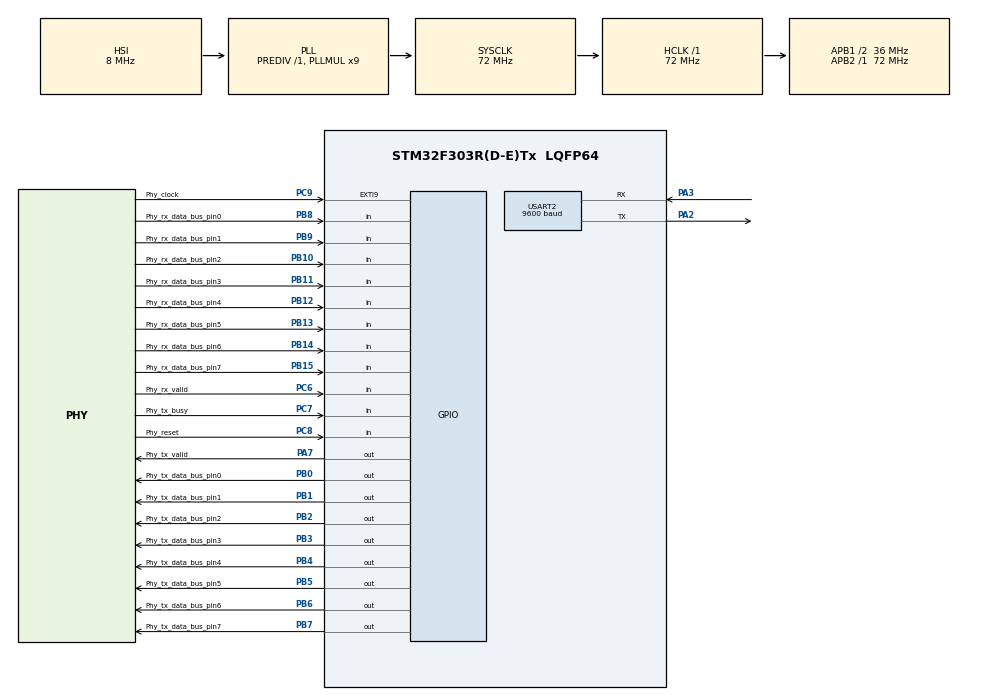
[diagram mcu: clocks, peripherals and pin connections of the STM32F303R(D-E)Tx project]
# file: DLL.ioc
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Mcu.Family=STM32F3
Mcu.Name=STM32F303R(D-E)Tx
Mcu.Package=LQFP64
Mcu.UserConstants=PSC_2KHZ,36000;ARR_2HZ,1000
NVIC.EXTI9_5_IRQn=true\:0\:0\:false\:true\:false\:1\:true
NVIC.PriorityGroup=NVIC_PRIORITYGROUP_4
NVIC.TIM2_IRQn=true\:0\:0\:false\:false\:true\:true
NVIC.TIM3_IRQn=true\:0\:0\:false\:false\:true\:true
NVIC.USART2_IRQn=true\:0\:0\:false\:true\:false\:2\:true
PA13.Mode=Serial_Wire
PA13.Signal=SYS_JTMS-SWDIO
PA14.Mode=Serial_Wire
PA14.Signal=SYS_JTCK-SWCLK
PA2.Mode=Asynchronous
PA2.Signal=USART2_TX
PA3.Mode=Asynchronous
PA3.Signal=USART2_RX
PA7.GPIO_Label=Phy_tx_valid
PA7.GPIO_ModeDefaultOutputPP=GPIO_MODE_OUTPUT_PP
PA7.GPIO_PuPd=GPIO_PULLDOWN
PA7.GPIO_Speed=GPIO_SPEED_FREQ_HIGH
PA7.Signal=GPIO_Output
PB0.GPIO_Label=Phy_tx_data_bus_pin0
PB0.GPIO_ModeDefaultOutputPP=GPIO_MODE_OUTPUT_PP
PB0.GPIO_PuPd=GPIO_PULLDOWN
PB0.GPIO_Speed=GPIO_SPEED_FREQ_HIGH
PB0.Signal=GPIO_Output
PB1.GPIO_Label=Phy_tx_data_bus_pin1
PB1.GPIO_PuPd=GPIO_PULLDOWN
PB1.GPIO_Speed=GPIO_SPEED_FREQ_HIGH
PB1.Signal=GPIO_Output
PB10.GPIO_Label=Phy_rx_data_bus_pin2
PB10.GPIO_PuPd=GPIO_PULLDOWN
PB10.Signal=GPIO_Input
PB11.GPIO_Label=Phy_rx_data_bus_pin3
PB11.GPIO_PuPd=GPIO_PULLDOWN
PB11.Signal=GPIO_Input
PB12.GPIO_Label=Phy_rx_data_bus_pin4
PB12.GPIO_PuPd=GPIO_PULLDOWN
PB12.Signal=GPIO_Input
PB13.GPIO_Label=Phy_rx_data_bus_pin5
PB13.GPIO_PuPd=GPIO_PULLDOWN
PB13.Signal=GPIO_Input
PB14.GPIO_Label=Phy_rx_data_bus_pin6
PB14.GPIO_PuPd=GPIO_PULLDOWN
PB14.Signal=GPIO_Input
PB15.GPIO_Label=Phy_rx_data_bus_pin7
PB15.GPIO_PuPd=GPIO_PULLDOWN
PB15.Signal=GPIO_Input
PB2.GPIO_Label=Phy_tx_data_bus_pin2
PB2.GPIO_PuPd=GPIO_PULLDOWN
PB2.GPIO_Speed=GPIO_SPEED_FREQ_HIGH
PB2.Signal=GPIO_Output
PB3.GPIO_Label=Phy_tx_data_bus_pin3
PB3.GPIO_PuPd=GPIO_PULLDOWN
PB3.GPIO_Speed=GPIO_SPEED_FREQ_HIGH
PB3.Signal=GPIO_Output
PB4.GPIO_Label=Phy_tx_data_bus_pin4
PB4.GPIO_PuPd=GPIO_PULLDOWN
PB4.GPIO_Speed=GPIO_SPEED_FREQ_HIGH
PB4.Signal=GPIO_Output
PB5.GPIO_Label=Phy_tx_data_bus_pin5
PB5.GPIO_PuPd=GPIO_PULLDOWN
PB5.GPIO_Speed=GPIO_SPEED_FREQ_HIGH
PB5.Signal=GPIO_Output
PB6.GPIO_Label=Phy_tx_data_bus_pin6
PB6.GPIO_PuPd=GPIO_PULLDOWN
PB6.GPIO_Speed=GPIO_SPEED_FREQ_HIGH
PB6.Signal=GPIO_Output
PB7.GPIO_Label=Phy_tx_data_bus_pin7
PB7.GPIO_PuPd=GPIO_PULLDOWN
PB7.GPIO_Speed=GPIO_SPEED_FREQ_HIGH
PB7.Signal=GPIO_Output
PB8.GPIO_Label=Phy_rx_data_bus_pin0
PB8.GPIO_PuPd=GPIO_PULLDOWN
PB8.Signal=GPIO_Input
PB9.GPIO_Label=Phy_rx_data_bus_pin1
PB9.GPIO_PuPd=GPIO_PULLDOWN
PB9.Signal=GPIO_Input
PC6.GPIO_Label=Phy_rx_valid
PC6.GPIO_PuPd=GPIO_PULLDOWN
PC6.Signal=GPIO_Input
PC7.GPIO_Label=Phy_tx_busy
PC7.GPIO_PuPd=GPIO_PULLDOWN
PC7.Signal=GPIO_Input
PC8.GPIO_Label=Phy_reset
PC8.GPIO_PuPd=GPIO_PULLDOWN
PC8.Signal=GPIO_Input
PC9.GPIO_Label=Phy_clock
PC9.GPIO_ModeDefaultEXTI=GPIO_MODE_IT_RISING_FALLING
PC9.GPIO_PuPd=GPIO_PULLDOWN
PC9.Signal=GPXTI9
ProjectManager.HeapSize=0xe000
ProjectManager.StackSize=0x1400
ProjectManager.TargetToolchain=MDK-ARM V5
RCC.AHBFreq_Value=72000000
RCC.APB1CLKDivider=RCC_HCLK_DIV2
RCC.APB1Freq_Value=36000000
RCC.APB1TimFreq_Value=72000000
RCC.APB2Freq_Value=72000000
RCC.APB2TimFreq_Value=72000000
RCC.CortexFreq_Value=72000000
RCC.HCLKFreq_Value=72000000
RCC.HSE_VALUE=8000000
RCC.HSI_VALUE=8000000
RCC.LSE_VALUE=32768
RCC.PLLMUL=RCC_PLL_MUL9
RCC.SYSCLKFreq_VALUE=72000000
RCC.SYSCLKSourceVirtual=RCC_SYSCLKSOURCE_PLLCLK
RCC.USBFreq_Value=72000000
TIM2.Period=999
TIM2.Prescaler=359
TIM3.Period=999
TIM3.Prescaler=719
USART2.BaudRate=9600
USART2.VirtualMode-Asynchronous=VM_ASYNC
USART2.WordLength=WORDLENGTH_8B
VP_CRC_VS_CRC.Mode=CRC_Activate
VP_TIM2_VS_ClockSourceINT.Mode=Internal
VP_TIM3_VS_ClockSourceINT.Mode=Internal
board=DLL

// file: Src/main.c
/**
  ******************************************************************************
  * @file           : main.c
  * @brief          : Main program body
  ******************************************************************************
  ** This notice applies to any and all portions of this file
  * that are not between comment pairs USER CODE BEGIN and
  * USER CODE END. Other portions of this file, whether
  * inserted by the user or by software development tools
  * are owned by their respective copyright owners.
  *
  * COPYRIGHT(c) 2020 STMicroelectronics
  *
  * Redistribution and use in source and binary forms, with or without modification,
  * are permitted provided that the following conditions are met:
  *   1. Redistributions of source code must retain the above copyright notice,
  *      this list of conditions and the following disclaimer.
  *   2. Redistributions in binary form must reproduce the above copyright notice,
  *      this list of conditions and the following disclaimer in the documentation
  *      and/or other materials provided with the distribution.
  *   3. Neither the name of STMicroelectronics nor the names of its contributors
  *      may be used to endorse or promote products derived from this software
  *      without specific prior written permission.
  *
  * THIS SOFTWARE IS PROVIDED BY THE COPYRIGHT HOLDERS AND CONTRIBUTORS "AS IS"
  * AND ANY EXPRESS OR IMPLIED WARRANTIES, INCLUDING, BUT NOT LIMITED TO, THE
  * IMPLIED WARRANTIES OF MERCHANTABILITY AND FITNESS FOR A PARTICULAR PURPOSE ARE
  * DISCLAIMED. IN NO EVENT SHALL THE COPYRIGHT HOLDER OR CONTRIBUTORS BE LIABLE
  * FOR ANY DIRECT, INDIRECT, INCIDENTAL, SPECIAL, EXEMPLARY, OR CONSEQUENTIAL
  * DAMAGES (INCLUDING, BUT NOT LIMITED TO, PROCUREMENT OF SUBSTITUTE GOODS OR
  * SERVICES; LOSS OF USE, DATA, OR PROFITS; OR BUSINESS INTERRUPTION) HOWEVER
  * CAUSED AND ON ANY THEORY OF LIABILITY, WHETHER IN CONTRACT, STRICT LIABILITY,
  * OR TORT (INCLUDING NEGLIGENCE OR OTHERWISE) ARISING IN ANY WAY OUT OF THE USE
  * OF THIS SOFTWARE, EVEN IF ADVISED OF THE POSSIBILITY OF SUCH DAMAGE.
  *
  ******************************************************************************
  */
#include "main.h"
#include "stm32f3xx_hal.h"

/* USER CODE BEGIN Includes */
#include <stdlib.h>
#include "Ethernet.h"
#include "template.h"

#define DEBUG debug()
#define CRC_ERROR 100
#define FRAME_LENGTH_ERROR 101
#define PAYLOAD_LENGTH_ERROR 102 //must be greater than 42 and lesser than 1500
#define PREAMBLE_ERROR 103
#define NO_ERROR 104
/* USER CODE END Includes */

CRC_HandleTypeDef hcrc;

TIM_HandleTypeDef htim2;
TIM_HandleTypeDef htim3;

UART_HandleTypeDef huart2;

/* USER CODE BEGIN PV */
/* Private variables ---------------------------------------------------------*/

uint8_t myMAC[] ={0xcc,0xcc,0xcc,0xcc,0xcc,0xcc}; 	//Our MAC address
uint32_t is_frame_ready = 0;
Ethernet_res frame_res;

/* USER CODE END PV */

void SystemClock_Config(void);
static void MX_GPIO_Init(void);
static void MX_USART2_UART_Init(void);
static void MX_CRC_Init(void);
static void MX_TIM2_Init(void);
static void MX_TIM3_Init(void);
static void MX_NVIC_Init(void);

/* USER CODE BEGIN PFP */
/* Private function prototypes -----------------------------------------------*/
//for debug
	uint8_t tx_data_wire = 0;
	uint8_t tx_vld_wire = 0;
	uint8_t phy_clk_wire = 0;
	uint8_t phy_busy_wire = 0;
	uint8_t phy_reset_wire = 0;
	uint8_t rx_data_wire = 0;
	uint8_t rx_vld_wire = 0;

void debug(void)
{
	 tx_data_wire = (uint8_t)((Phy_tx_data_bus_pin0_GPIO_Port->IDR) & 0x0FF);
	 tx_vld_wire = (uint8_t)HAL_GPIO_ReadPin(Phy_tx_valid_GPIO_Port, Phy_tx_valid_Pin);
	 phy_clk_wire = (uint8_t)HAL_GPIO_ReadPin(Phy_clock_GPIO_Port, Phy_clock_Pin);
	 phy_busy_wire = (uint8_t)HAL_GPIO_ReadPin(Phy_tx_busy_GPIO_Port, Phy_tx_busy_Pin);
	 phy_reset_wire = (uint8_t)HAL_GPIO_ReadPin(Phy_reset_GPIO_Port, Phy_reset_Pin);
	 rx_data_wire = (uint8_t)((Phy_rx_data_bus_pin0_GPIO_Port->IDR)>>8);
	 rx_vld_wire = (uint8_t)HAL_GPIO_ReadPin(Phy_rx_valid_GPIO_Port, Phy_rx_valid_Pin);
}
	//end debug

/* USER CODE END PFP */

/* USER CODE BEGIN 0 */

/* Dll Rx functions */
uint8_t frame_ended = 0;
extern uint8_t isRxByteReady(void);									//check if there is new byte received from phy.
extern uint8_t getByte(void); 											//get byte from phy, it's mandatory to use "isRxByteReady()" before calling this function.
void LLC_RX()
{
	uint32_t i;
	if(is_frame_ready)
	{
		printf("\r\nReceived a new frame\r\n");
		switch(frame_res.syndrom)
		{
			case NO_ERROR:
				printf("Destination Address is: ");
				for(i = 0; i < MAC_ADDRESS_LEN; i++)
				{
					printf("%x",frame_res.destinationMac[i]);
				}
				printf("\r\nSource Address is: ");
				for(i = 0; i< MAC_ADDRESS_LEN; i++)
				{
					printf("%x",frame_res.sourceMac[i]);
				}
				printf("\r\nPayload is: ");
				for(i = 0; i < frame_res.payloadSize[0] + frame_res.payloadSize[1]*256; i++)
				{
					printf("%c", frame_res.payload[i]);
				}
				printf("\r\n\r\n");
				break;
			case PREAMBLE_ERROR:
				printf("\r\nOh no, We can't beleive this. Bibi is still prime minister? also Preamble wasn't valid.\r\n\r\n");
				break;
			case PAYLOAD_LENGTH_ERROR:
				printf("\r\nOh no, We can't beleive this. Bibi is still prime minister? also Payload Length wasn't valid..\r\n\r\n");
				break;
			case FRAME_LENGTH_ERROR:
				printf("\r\nOh no, We can't beleive this. Bibi is still prime minister? also Total Frame Length wasn't valid..\r\n\r\n");
				break;
			case CRC_ERROR:
				printf("\nOh no, We can't beleive this. Bibi is still prime minister? also CRC wasn't valid..\r\n\r\n");
				break;
		}
		is_frame_ready = 0;
		free((void*)frame_res.payload);
	}
}

void MAC_RX()
{
	uint8_t byte = 0;
	static uint32_t allocate = 1;
	uint8_t Rx_CRC_res = 0;
	uint8_t Tx_CRC_res = 0;
	static uint32_t data_size = 0;
	int32_t i = 0;
	static uint32_t error = 0;
	static uint32_t rx_frame_counter = 0;
	static uint32_t timer_on = 0;
	static uint8_t rx_frame[1522];
	static uint32_t preamble_counter = 0;
	static uint32_t stat = 0;
	static uint32_t timer = 0;

	if(isRxByteReady())
	{
		if(timer_on)
		{
			//HAL_TIM_Base_Stop_IT(&htim2);
			timer = 0;
			timer_on = 0;
		}
		if(preamble_counter < 7)
		{
			byte = getByte();
			if(byte == 0xAA)
				preamble_counter++;
			else
			{
				preamble_counter = 0;
			}
		}
		else if(preamble_counter == 7)
		{
			byte = getByte();
			if(byte == 0xAB)
			{
				rx_frame_counter = 0;
				preamble_counter++;
			}
			else
			{
				preamble_counter = 0;
			}
		}
		else
		{
			if(rx_frame_counter==0)
			{
				rx_frame[0] = getByte();
				rx_frame_counter++;
			}
			else
			{
				if(rx_frame_counter < 1522)
				{
					byte = getByte();
					rx_frame[rx_frame_counter] = byte;
					rx_frame_counter++;
				}
				else
				{
					frame_res.syndrom = FRAME_LENGTH_ERROR;
					preamble_counter = 0;
					rx_frame_counter = 0;
					is_frame_ready = 1;
				}
			}
			//HAL_TIM_Base_Start_IT(&htim2);
			timer_on = 1;
		}
	}
	else
	{
		if(timer_on)
			timer++;
	}

	if(timer == 10000) //start buliding the frame
	{
		timer = 0;
		timer_on = 0;
		//HAL_TIM_Base_Stop_IT(&htim2);
		frame_res.syndrom = NO_ERROR;
		if(rx_frame_counter < 64) // frame length error
		{
			frame_res.syndrom = FRAME_LENGTH_ERROR;
		}
		else
		{
			hcrc.Init.DefaultInitValueUse = DEFAULT_INIT_VALUE_ENABLE;
			Rx_CRC_res = HAL_CRC_Calculate(&hcrc,(uint32_t*)&rx_frame[0],1);
			frame_res.destinationMac[0] = rx_frame[0];
			for(i = 1; i<rx_frame_counter - 4; i++) //crc calc + constructing the frame
			{
				Rx_CRC_res = HAL_CRC_Accumulate(&hcrc,(uint32_t*)&rx_frame[i],1);
				if(i >= 1 && i <= 5) //destination address
					frame_res.destinationMac[i] = rx_frame[i];
				else if(i >= 6 && i <= 11) //source address
				{
					frame_res.sourceMac[i-6] = rx_frame[i];
				}
				else if(i >= 16 && i <= 17) //payload size
				{
					frame_res.payloadSize[0] = rx_frame[17];
					frame_res.payloadSize[1] = rx_frame[16];
					data_size = rx_frame[17] + rx_frame[16]*256;
					frame_res.payload = (uint8_t*)malloc(data_size*sizeof(uint8_t));
				}
				else if(i >= 18 && i < 18 + data_size) //data
				{
					 frame_res.payload[i-18] = rx_frame[i];
				}
			}
			Tx_CRC_res = rx_frame[rx_frame_counter-4] + rx_frame[rx_frame_counter-3]*256 + rx_frame[rx_frame_counter-2]*65536 + rx_frame[rx_frame_counter-1]*(2^24);
			if(Tx_CRC_res != Rx_CRC_res)
			{
				frame_ended = 0;
				frame_res.syndrom = CRC_ERROR;
			}
			else if(data_size > 1500)
			{
				frame_res.syndrom = PAYLOAD_LENGTH_ERROR;
			}
		}
		i=0;
		preamble_counter = 0;
		rx_frame_counter = 0;
		is_frame_ready = 1;
	}
}

/* Dll Tx functions */
uint8_t gap_time_passed = 1;
extern uint8_t isPhyTxReady(void);									//check if the phy_Tx ready to get another byte to send.
extern uint8_t sendByte(uint8_t data); 							//sent byte to phy, it's mandatory to use "isPhyTxReady()" before call this function
extern uint8_t isNewTxRequest(void); 								//check if the upper_layer sent us new data to transmit.
extern Ethernet_req* getTxRequeset(void);						//get from upper_layer data to transmit, it's mandatory to use "isNewTxRequest()" before call this function.
//Important! - after finish using the Ethernet_req struct, you have to free it and also free the Ethernet_req.payload.

void MAC_TX()
{
	static uint8_t* frame;
	static uint32_t timer_on = 0;
	static uint16_t data_size = 0;
	static uint32_t frame_size = 0;
	static uint32_t i = 0;
	static uint32_t CRC_res = 0;
	static uint32_t tx_ready_to_send = 0;
	uint32_t j = 0;
	if (isNewTxRequest() && gap_time_passed)
	{
		if(timer_on)
		{
			HAL_TIM_Base_Stop_IT(&htim3);
			timer_on = 0;
		}
		Ethernet_req* temp = getTxRequeset();

		data_size = temp->payloadSize[0] + (temp->payloadSize[1]*256);
		if(data_size < 42)
		{
			frame = (uint8_t *)malloc(72*sizeof(uint8_t));
			frame_size = 42;
		}
		else
		{
			frame = (uint8_t *)malloc((data_size+30)*sizeof(uint8_t));
			frame_size = data_size;
		}

		for(i=0; i<frame_size+30; i++)
		{
			if(i < 7) //preamble
			{
				frame[i] = 0xAA;
			}
			else if(i == 7) //last preamble
			{
				frame[i] = 0xAB;
			}
			else if(i >=8 && i <= 13) //destination Mac be hearot
			{
				frame[i] = temp->destinationMac[i-8];
				if(i==8)
					CRC_res = HAL_CRC_Calculate(&hcrc,(uint32_t*)&frame[i],1);
				else
					CRC_res = HAL_CRC_Accumulate(&hcrc,(uint32_t*)&frame[i],1);;
			}
			else if(i >=14 && i <= 19) //source Mac gam be hearot
			{
				frame[i] = myMAC[i-14];
				CRC_res = HAL_CRC_Accumulate(&hcrc,(uint32_t*)&frame[i],1);
			}
			else if(i >=20 && i <= 23) //VLAN
			{
				frame[i] = 0;
				CRC_res = HAL_CRC_Accumulate(&hcrc,(uint32_t*)&frame[i],1);
			}
			else if(i == 24) //Length
			{
				frame[i+1] = temp->payloadSize[0];
				CRC_res = HAL_CRC_Accumulate(&hcrc,(uint32_t*)&frame[i],1);
			}
			else if(i == 25) //Length
			{
				frame[i-1] = temp->payloadSize[1];
				CRC_res = HAL_CRC_Accumulate(&hcrc,(uint32_t*)&frame[i],1);
			}
			else if(i >=26 && i < 26+data_size)
			{
				frame[i] = temp->payload[i-26];
				CRC_res = HAL_CRC_Accumulate(&hcrc,(uint32_t*)&frame[i],1);
			}
			else if(i >=26+data_size && i < 26+frame_size) //Data
			{
				frame[i] = 0;
				CRC_res = HAL_CRC_Accumulate(&hcrc,(uint32_t*)&frame[i],1);
			}
			else if(i >= 26+frame_size) //CRC
			{
				frame[26+frame_size] = CRC_res & 0xFF; //lsb first
				frame[27+frame_size] = CRC_res & 0xFF00;
				frame[28+frame_size] = CRC_res & 0xFF0000;
				frame[29+frame_size] = CRC_res & 0xFF000000; //msb last
				i=frame_size + 30;
			}

		}
		//frame was fully build
		tx_ready_to_send = 1;
		i=0;
		//in the end of using 'temp' you have to free memory:
		free((void*)temp->payload);
		free(temp);
	}
	if(tx_ready_to_send && isPhyTxReady() && i < frame_size+30)
	{
		sendByte(frame[i]);
		i++;
	}
	if(i == frame_size+30)
	{
		free(frame);
		frame_size = 0;
		data_size = 0;
		CRC_res = 0;
		i = 0;
		tx_ready_to_send = 0;
		gap_time_passed = 0;
		HAL_TIM_Base_Start_IT(&htim3);
		timer_on = 1;
	}

}
/* USER CODE END 0 */

int main(void)
{

  /* MCU Configuration----------------------------------------------------------*/

  /* Reset of all peripherals, Initializes the Flash interface and the Systick. */
  HAL_Init();

  /* Configure the system clock */
  SystemClock_Config();

  /* Initialize all configured peripherals */
  MX_GPIO_Init();
  MX_USART2_UART_Init();
  MX_CRC_Init();
  MX_TIM2_Init();
  MX_TIM3_Init();

  /* Initialize interrupts */
  MX_NVIC_Init();
  /* USER CODE BEGIN 2 */
	printf("------------------------------------------------------------\r\n");
	printf("DLL is On! DLL will print Rx data and Tx data \r\n(My MAC address is: %02X:%02X:%02X:%02X:%02X:%02X)\r\n",
				myMAC[0],myMAC[1],myMAC[2],myMAC[3],myMAC[4],myMAC[5]);
	printf("------------------------------------------------------------\r\n");
	printf("Press any key to start\r\n");
	DllAlive = 1; //DLL is on!
	__HAL_RCC_CRC_CLK_ENABLE();

  /* USER CODE END 2 */

  /* Infinite loop */
  /* USER CODE BEGIN WHILE */
  while (1)
  {
		//DLL functions - DO NOT TOUCH
		HAL_UART_Receive_IT(&huart2,&recieved_value,1);
		printer();
		DEBUG;
		//End Of DLL functions
		MAC_TX(); //MY FUNCTIONS - DO NO TOUCH, BELEIVE ME ITS WORKS
		MAC_RX();
		LLC_RX();

  /* USER CODE END WHILE */

  }

}

void SystemClock_Config(void)
{

  RCC_OscInitTypeDef RCC_OscInitStruct;
  RCC_ClkInitTypeDef RCC_ClkInitStruct;
  RCC_PeriphCLKInitTypeDef PeriphClkInit;

    /**Initializes the CPU, AHB and APB busses clocks
    */
  RCC_OscInitStruct.OscillatorType = RCC_OSCILLATORTYPE_HSI;
  RCC_OscInitStruct.HSIState = RCC_HSI_ON;
  RCC_OscInitStruct.HSICalibrationValue = 16;
  RCC_OscInitStruct.PLL.PLLState = RCC_PLL_ON;
  RCC_OscInitStruct.PLL.PLLSource = RCC_PLLSOURCE_HSI;
  RCC_OscInitStruct.PLL.PLLMUL = RCC_PLL_MUL9;
  RCC_OscInitStruct.PLL.PREDIV = RCC_PREDIV_DIV1;
  if (HAL_RCC_OscConfig(&RCC_OscInitStruct) != HAL_OK)
  {
    _Error_Handler(__FILE__, __LINE__);
  }

    /**Initializes the CPU, AHB and APB busses clocks
    */
  RCC_ClkInitStruct.ClockType = RCC_CLOCKTYPE_HCLK|RCC_CLOCKTYPE_SYSCLK
                              |RCC_CLOCKTYPE_PCLK1|RCC_CLOCKTYPE_PCLK2;
  RCC_ClkInitStruct.SYSCLKSource = RCC_SYSCLKSOURCE_PLLCLK;
  RCC_ClkInitStruct.AHBCLKDivider = RCC_SYSCLK_DIV1;
  RCC_ClkInitStruct.APB1CLKDivider = RCC_HCLK_DIV2;
  RCC_ClkInitStruct.APB2CLKDivider = RCC_HCLK_DIV1;

  if (HAL_RCC_ClockConfig(&RCC_ClkInitStruct, FLASH_LATENCY_2) != HAL_OK)
  {
    _Error_Handler(__FILE__, __LINE__);
  }

  PeriphClkInit.PeriphClockSelection = RCC_PERIPHCLK_USART2|RCC_PERIPHCLK_TIM2
                              |RCC_PERIPHCLK_TIM34;
  PeriphClkInit.Usart2ClockSelection = RCC_USART2CLKSOURCE_PCLK1;
  PeriphClkInit.Tim2ClockSelection = RCC_TIM2CLK_HCLK;
  PeriphClkInit.Tim34ClockSelection = RCC_TIM34CLK_HCLK;
  if (HAL_RCCEx_PeriphCLKConfig(&PeriphClkInit) != HAL_OK)
  {
    _Error_Handler(__FILE__, __LINE__);
  }

    /**Configure the Systick interrupt time
    */
  HAL_SYSTICK_Config(HAL_RCC_GetHCLKFreq()/1000);

    /**Configure the Systick
    */
  HAL_SYSTICK_CLKSourceConfig(SYSTICK_CLKSOURCE_HCLK);

  /* SysTick_IRQn interrupt configuration */
  HAL_NVIC_SetPriority(SysTick_IRQn, 0, 0);
}

/**
  * @brief NVIC Configuration.
  * @retval None
  */
static void MX_NVIC_Init(void)
{
  /* EXTI9_5_IRQn interrupt configuration */
  HAL_NVIC_SetPriority(EXTI9_5_IRQn, 0, 0);
  HAL_NVIC_EnableIRQ(EXTI9_5_IRQn);
  /* USART2_IRQn interrupt configuration */
  HAL_NVIC_SetPriority(USART2_IRQn, 0, 0);
  HAL_NVIC_EnableIRQ(USART2_IRQn);
}

/* CRC init function */
static void MX_CRC_Init(void)
{

  hcrc.Instance = CRC;
  hcrc.Init.DefaultPolynomialUse = DEFAULT_POLYNOMIAL_ENABLE;
  hcrc.Init.DefaultInitValueUse = DEFAULT_INIT_VALUE_ENABLE;
  hcrc.Init.InputDataInversionMode = CRC_INPUTDATA_INVERSION_NONE;
  hcrc.Init.OutputDataInversionMode = CRC_OUTPUTDATA_INVERSION_DISABLE;
  hcrc.InputDataFormat = CRC_INPUTDATA_FORMAT_BYTES;
  if (HAL_CRC_Init(&hcrc) != HAL_OK)
  {
    _Error_Handler(__FILE__, __LINE__);
  }

}

/* TIM2 init function */
static void MX_TIM2_Init(void)
{

  TIM_ClockConfigTypeDef sClockSourceConfig;
  TIM_MasterConfigTypeDef sMasterConfig;

  htim2.Instance = TIM2;
  htim2.Init.Prescaler = 359;
  htim2.Init.CounterMode = TIM_COUNTERMODE_UP;
  htim2.Init.Period = 999;
  htim2.Init.ClockDivision = TIM_CLOCKDIVISION_DIV1;
  htim2.Init.AutoReloadPreload = TIM_AUTORELOAD_PRELOAD_DISABLE;
  if (HAL_TIM_Base_Init(&htim2) != HAL_OK)
  {
    _Error_Handler(__FILE__, __LINE__);
  }

  sClockSourceConfig.ClockSource = TIM_CLOCKSOURCE_INTERNAL;
  if (HAL_TIM_ConfigClockSource(&htim2, &sClockSourceConfig) != HAL_OK)
  {
    _Error_Handler(__FILE__, __LINE__);
  }

  sMasterConfig.MasterOutputTrigger = TIM_TRGO_RESET;
  sMasterConfig.MasterSlaveMode = TIM_MASTERSLAVEMODE_DISABLE;
  if (HAL_TIMEx_MasterConfigSynchronization(&htim2, &sMasterConfig) != HAL_OK)
  {
    _Error_Handler(__FILE__, __LINE__);
  }

}

/* TIM3 init function */
static void MX_TIM3_Init(void)
{

  TIM_ClockConfigTypeDef sClockSourceConfig;
  TIM_MasterConfigTypeDef sMasterConfig;

  htim3.Instance = TIM3;
  htim3.Init.Prescaler = 719;
  htim3.Init.CounterMode = TIM_COUNTERMODE_UP;
  htim3.Init.Period = 999;
  htim3.Init.ClockDivision = TIM_CLOCKDIVISION_DIV1;
  htim3.Init.AutoReloadPreload = TIM_AUTORELOAD_PRELOAD_DISABLE;
  if (HAL_TIM_Base_Init(&htim3) != HAL_OK)
  {
    _Error_Handler(__FILE__, __LINE__);
  }

  sClockSourceConfig.ClockSource = TIM_CLOCKSOURCE_INTERNAL;
  if (HAL_TIM_ConfigClockSource(&htim3, &sClockSourceConfig) != HAL_OK)
  {
    _Error_Handler(__FILE__, __LINE__);
  }

  sMasterConfig.MasterOutputTrigger = TIM_TRGO_RESET;
  sMasterConfig.MasterSlaveMode = TIM_MASTERSLAVEMODE_DISABLE;
  if (HAL_TIMEx_MasterConfigSynchronization(&htim3, &sMasterConfig) != HAL_OK)
  {
    _Error_Handler(__FILE__, __LINE__);
  }

}

/* USART2 init function */
static void MX_USART2_UART_Init(void)
{

  huart2.Instance = USART2;
  huart2.Init.BaudRate = 9600;
  huart2.Init.WordLength = UART_WORDLENGTH_8B;
  huart2.Init.StopBits = UART_STOPBITS_1;
  huart2.Init.Parity = UART_PARITY_NONE;
  huart2.Init.Mode = UART_MODE_TX_RX;
  huart2.Init.HwFlowCtl = UART_HWCONTROL_NONE;
  huart2.Init.OverSampling = UART_OVERSAMPLING_16;
  huart2.Init.OneBitSampling = UART_ONE_BIT_SAMPLE_DISABLE;
  huart2.AdvancedInit.AdvFeatureInit = UART_ADVFEATURE_NO_INIT;
  if (HAL_UART_Init(&huart2) != HAL_OK)
  {
    _Error_Handler(__FILE__, __LINE__);
  }

}

/** Configure pins as
        * Analog
        * Input
        * Output
        * EVENT_OUT
        * EXTI
*/
static void MX_GPIO_Init(void)
{

  GPIO_InitTypeDef GPIO_InitStruct;

  /* GPIO Ports Clock Enable */
  __HAL_RCC_GPIOA_CLK_ENABLE();
  __HAL_RCC_GPIOB_CLK_ENABLE();
  __HAL_RCC_GPIOC_CLK_ENABLE();

  /*Configure GPIO pin Output Level */
  HAL_GPIO_WritePin(Phy_tx_valid_GPIO_Port, Phy_tx_valid_Pin, GPIO_PIN_RESET);

  /*Configure GPIO pin Output Level */
  HAL_GPIO_WritePin(GPIOB, Phy_tx_data_bus_pin0_Pin|Phy_tx_data_bus_pin1_Pin|Phy_tx_data_bus_pin2_Pin|Phy_tx_data_bus_pin3_Pin
                          |Phy_tx_data_bus_pin4_Pin|Phy_tx_data_bus_pin5_Pin|Phy_tx_data_bus_pin6_Pin|Phy_tx_data_bus_pin7_Pin, GPIO_PIN_RESET);

  /*Configure GPIO pin : Phy_tx_valid_Pin */
  GPIO_InitStruct.Pin = Phy_tx_valid_Pin;
  GPIO_InitStruct.Mode = GPIO_MODE_OUTPUT_PP;
  GPIO_InitStruct.Pull = GPIO_PULLDOWN;
  GPIO_InitStruct.Speed = GPIO_SPEED_FREQ_HIGH;
  HAL_GPIO_Init(Phy_tx_valid_GPIO_Port, &GPIO_InitStruct);

  /*Configure GPIO pins : Phy_tx_data_bus_pin0_Pin Phy_tx_data_bus_pin1_Pin Phy_tx_data_bus_pin2_Pin Phy_tx_data_bus_pin3_Pin
                           Phy_tx_data_bus_pin4_Pin Phy_tx_data_bus_pin5_Pin Phy_tx_data_bus_pin6_Pin Phy_tx_data_bus_pin7_Pin */
  GPIO_InitStruct.Pin = Phy_tx_data_bus_pin0_Pin|Phy_tx_data_bus_pin1_Pin|Phy_tx_data_bus_pin2_Pin|Phy_tx_data_bus_pin3_Pin
                          |Phy_tx_data_bus_pin4_Pin|Phy_tx_data_bus_pin5_Pin|Phy_tx_data_bus_pin6_Pin|Phy_tx_data_bus_pin7_Pin;
  GPIO_InitStruct.Mode = GPIO_MODE_OUTPUT_PP;
  GPIO_InitStruct.Pull = GPIO_PULLDOWN;
  GPIO_InitStruct.Speed = GPIO_SPEED_FREQ_HIGH;
  HAL_GPIO_Init(GPIOB, &GPIO_InitStruct);

  /*Configure GPIO pins : Phy_rx_data_bus_pin2_Pin Phy_rx_data_bus_pin3_Pin Phy_rx_data_bus_pin4_Pin Phy_rx_data_bus_pin5_Pin
                           Phy_rx_data_bus_pin6_Pin Phy_rx_data_bus_pin7_Pin Phy_rx_data_bus_pin0_Pin Phy_rx_data_bus_pin1_Pin */
  GPIO_InitStruct.Pin = Phy_rx_data_bus_pin2_Pin|Phy_rx_data_bus_pin3_Pin|Phy_rx_data_bus_pin4_Pin|Phy_rx_data_bus_pin5_Pin
                          |Phy_rx_data_bus_pin6_Pin|Phy_rx_data_bus_pin7_Pin|Phy_rx_data_bus_pin0_Pin|Phy_rx_data_bus_pin1_Pin;
  GPIO_InitStruct.Mode = GPIO_MODE_INPUT;
  GPIO_InitStruct.Pull = GPIO_PULLDOWN;
  HAL_GPIO_Init(GPIOB, &GPIO_InitStruct);

  /*Configure GPIO pins : Phy_rx_valid_Pin Phy_tx_busy_Pin Phy_reset_Pin */
  GPIO_InitStruct.Pin = Phy_rx_valid_Pin|Phy_tx_busy_Pin|Phy_reset_Pin;
  GPIO_InitStruct.Mode = GPIO_MODE_INPUT;
  GPIO_InitStruct.Pull = GPIO_PULLDOWN;
  HAL_GPIO_Init(GPIOC, &GPIO_InitStruct);

  /*Configure GPIO pin : Phy_clock_Pin */
  GPIO_InitStruct.Pin = Phy_clock_Pin;
  GPIO_InitStruct.Mode = GPIO_MODE_IT_RISING_FALLING;
  GPIO_InitStruct.Pull = GPIO_PULLDOWN;
  HAL_GPIO_Init(Phy_clock_GPIO_Port, &GPIO_InitStruct);

}

void _Error_Handler(char *file, int line)
{
  while(1)
  {
  }
}

/************************ (C) COPYRIGHT STMicroelectronics *****END OF FILE****/
